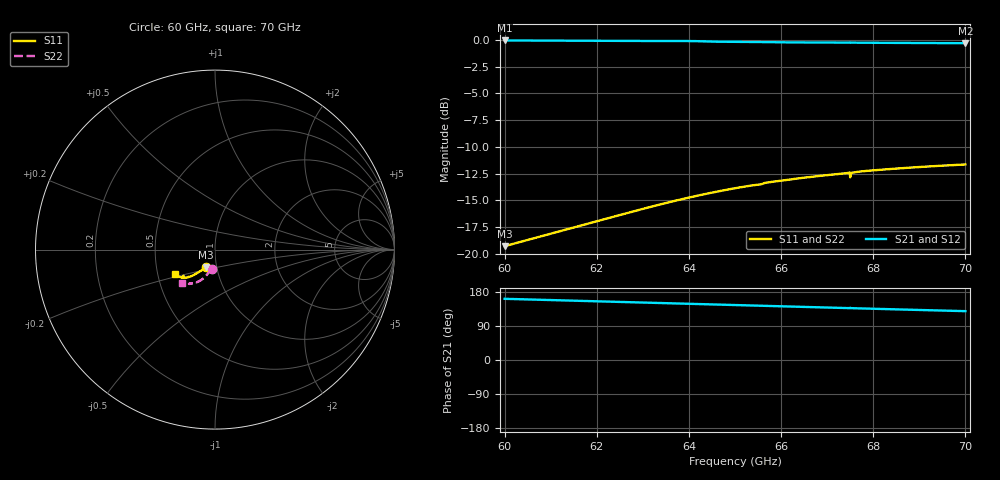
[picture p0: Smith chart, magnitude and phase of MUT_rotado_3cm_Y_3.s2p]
! TOUCHSTONE file generated by CST MICROWAVE STUDIO
! Date and time: Wed Feb 21 09:08:35 2024
! Project name: material_prueba.cst
! Parameters = {Y=0.5}
! Header version: 2018
! Port assignment regex: !\s*Touchstone port\s*([0-9]+)\s*=\s*(CST MWS port|CST DS port)\s*([0-9]+|Zmin|Zmax)\s*\(\"(.*)\"\)(\s*mode\s*([0-9]+))?.*
! Touchstone port assignment:
! Touchstone port 1 = CST MWS port 1 ("")
! Touchstone port 2 = CST MWS port 2 ("")
# GHz S MA R 376.7
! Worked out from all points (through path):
!   1001 points, 60 GHz to 70 GHz, reference 376.7 ohm
!   highest |S21| = -0.05 dB at 60 GHz (marker M1); lowest = -0.3 dB at 70 GHz (marker M2)
!   group delay of S21, straight-line fit = 9.06 ps
!   lowest |S11| = -19.3 dB at 60 GHz (marker M3), VSWR 1.24, Z = 335 - j65.7 ohm
!   |S11| at or under -10 dB: start of sweep to end of sweep
!   |S22| runs from -19.3 to -11.7 dB; largest |S21 - S12| = 0
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60  0.1085 -116.8  0.9941 161.5  0.9941 161.5  0.1085 -100.2
60.25  0.1121 -117.6  0.9936 160.6  0.9936 160.6  0.1116 -101.2
60.65  0.1183 -118.8  0.9927 159.3  0.9927 159.3  0.1173 -102.7
61.67  0.1356 -122.4  0.9906 155.9  0.9906 155.9  0.1353 -105.9
62.6  0.1537 -125.7  0.989 152.7  0.989 152.7  0.1542 -108.9
63.34  0.1692 -128.0  0.9889 150.3  0.9889 150.3  0.1698 -111.5
63.74  0.1777 -129.1  0.9896 149.1  0.9896 149.1  0.1781 -113.0
64.05  0.1841 -129.9  0.9882 148.2  0.9882 148.2  0.1844 -114.2
64.37  0.1905 -130.7  0.9831 147.2  0.9831 147.2  0.1907 -115.4
65  0.2025 -132.3  0.9793 144.9  0.9793 144.9  0.2025 -117.9
65.36  0.2085 -133.2  0.9783 143.7  0.9783 143.7  0.2086 -119.3
65.55  0.2108 -133.9  0.9775 143.0  0.9775 143.0  0.2108 -120.1
65.69  0.2151 -134.3  0.9766 142.5  0.9766 142.5  0.2152 -120.7
66.67  0.229 -136.9  0.9735 139.5  0.9735 139.5  0.2291 -124.2
67.44  0.2382 -139.1  0.9715 137.1  0.9715 137.1  0.2388 -126.9
67.45  0.2384 -139.1  0.9715 137.0  0.9715 137.0  0.2389 -126.9
67.55  0.2394 -139.3  0.971 136.7  0.971 136.7  0.2397 -127.2
67.57  0.2398 -139.4  0.9709 136.7  0.9709 136.7  0.24 -127.3
67.74  0.2426 -140.0  0.9701 136.1  0.9701 136.1  0.2421 -127.9
68.34  0.2487 -142.2  0.9689 134.1  0.9689 134.1  0.2482 -129.7
69.23  0.2562 -145.3  0.967 131.3  0.967 131.3  0.2559 -132.2
70  0.2615 -148.0  0.9652 128.9  0.9652 128.9  0.2615 -134.2
